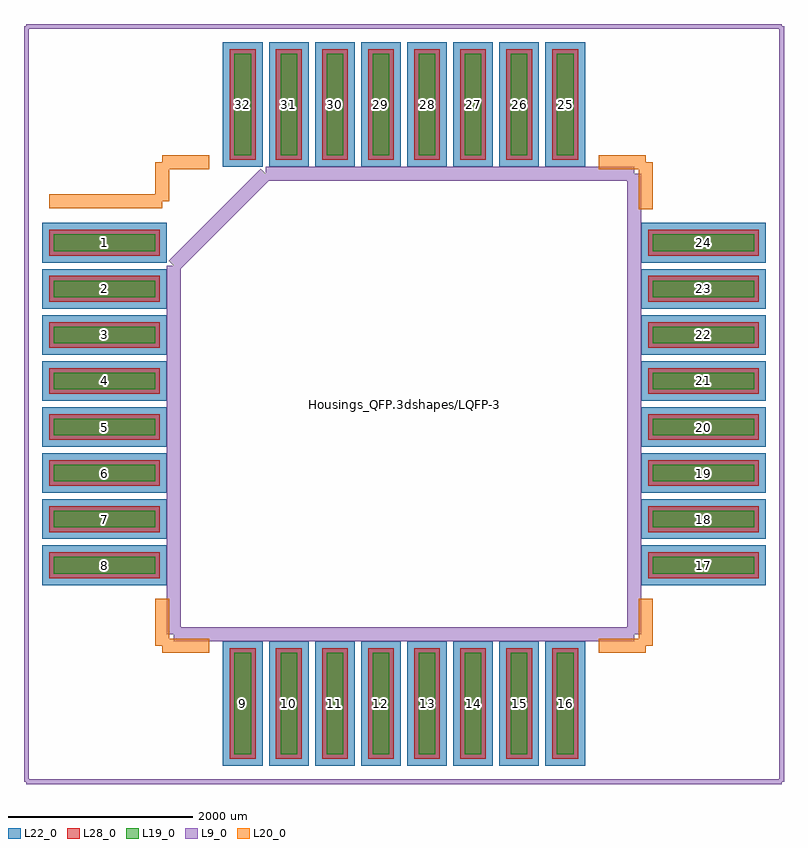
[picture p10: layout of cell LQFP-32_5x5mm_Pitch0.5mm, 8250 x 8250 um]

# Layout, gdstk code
import gdstk
lib = gdstk.Library(unit=1e-6, precision=1e-09)
def R(c, l, rs):  # rectangles x0, y0, x1, y1
    for r in rs: c.add(gdstk.rectangle(r[:2], r[2:], *l))
def A(c, l, x, y, w, h, nx, ny, dx, dy):  # array of equal rectangles
    R(c, l, [(x+i*dx, y+j*dy, x+i*dx+w, y+j*dy+h) for i in range(nx) for j in range(ny)])
L9_0 = (9, 0)
L19_0 = (19, 0)
L20_0 = (20, 0)
L22_0 = (22, 0)
L28_0 = (28, 0)

lqfp_32_5x5mm_pitch0_5mm = lib.new_cell('LQFP-32_5x5mm_Pitch0.5mm')
A(lqfp_32_5x5mm_pitch0_5mm, L19_0, -1840, -3800, 180, 1100, 8, 2, 500, 6500)
A(lqfp_32_5x5mm_pitch0_5mm, L19_0, -3800, -1840, 1100, 180, 1, 8, 0, 500)
A(lqfp_32_5x5mm_pitch0_5mm, L19_0, 2700, -1840, 1100, 180, 1, 8, 0, 500)
A(lqfp_32_5x5mm_pitch0_5mm, L22_0, -1965, -3925, 430, 1350, 8, 2, 500, 6500)
A(lqfp_32_5x5mm_pitch0_5mm, L22_0, -3925, -1965, 1350, 430, 1, 8, 0, 500)
A(lqfp_32_5x5mm_pitch0_5mm, L22_0, 2575, -1965, 1350, 430, 1, 8, 0, 500)
A(lqfp_32_5x5mm_pitch0_5mm, L28_0, -1890, -3850, 280, 1200, 8, 2, 500, 6500)
A(lqfp_32_5x5mm_pitch0_5mm, L28_0, -3850, -1890, 1200, 280, 1, 8, 0, 500)
A(lqfp_32_5x5mm_pitch0_5mm, L28_0, 2650, -1890, 1200, 280, 1, 8, 0, 500)
lqfp_32_5x5mm_pitch0_5mm.add(gdstk.FlexPath([(-2625,2200),(-3850,2200)], 149.998, ends="flush", simple_path=True, layer=20, datatype=0))  # L20_0
lqfp_32_5x5mm_pitch0_5mm.add(gdstk.FlexPath([(2625,2625),(2115,2625)], 149.998, ends="flush", simple_path=True, layer=20, datatype=0))  # L20_0
lqfp_32_5x5mm_pitch0_5mm.add(gdstk.FlexPath([(2625,-2625),(2115,-2625)], 149.998, ends="flush", simple_path=True, layer=20, datatype=0))  # L20_0
lqfp_32_5x5mm_pitch0_5mm.add(gdstk.FlexPath([(-2625,-2625),(-2115,-2625)], 149.998, ends="flush", simple_path=True, layer=20, datatype=0))  # L20_0
lqfp_32_5x5mm_pitch0_5mm.add(gdstk.FlexPath([(-2625,2625),(-2115,2625)], 149.998, ends="flush", simple_path=True, layer=20, datatype=0))  # L20_0
lqfp_32_5x5mm_pitch0_5mm.add(gdstk.FlexPath([(-2625,-2625),(-2625,-2115)], 149.998, ends="flush", simple_path=True, layer=20, datatype=0))  # L20_0
lqfp_32_5x5mm_pitch0_5mm.add(gdstk.FlexPath([(2625,-2625),(2625,-2115)], 149.998, ends="flush", simple_path=True, layer=20, datatype=0))  # L20_0
lqfp_32_5x5mm_pitch0_5mm.add(gdstk.FlexPath([(2625,2625),(2625,2115)], 149.998, ends="flush", simple_path=True, layer=20, datatype=0))  # L20_0
lqfp_32_5x5mm_pitch0_5mm.add(gdstk.FlexPath([(-2625,2625),(-2625,2200)], 149.998, ends="flush", simple_path=True, layer=20, datatype=0))  # L20_0
lqfp_32_5x5mm_pitch0_5mm.add(gdstk.FlexPath([(-4100,-4100),(4100,-4100)], 50, ends="flush", simple_path=True, layer=9, datatype=0))  # L9_0
lqfp_32_5x5mm_pitch0_5mm.add(gdstk.FlexPath([(-4100,4100),(4100,4100)], 50, ends="flush", simple_path=True, layer=9, datatype=0))  # L9_0
lqfp_32_5x5mm_pitch0_5mm.add(gdstk.FlexPath([(4100,4100),(4100,-4100)], 50, ends="flush", simple_path=True, layer=9, datatype=0))  # L9_0
lqfp_32_5x5mm_pitch0_5mm.add(gdstk.FlexPath([(-4100,4100),(-4100,-4100)], 50, ends="flush", simple_path=True, layer=9, datatype=0))  # L9_0
lqfp_32_5x5mm_pitch0_5mm.add(gdstk.FlexPath([(-2500,1500),(-1500,2500)], 149.998, ends="flush", simple_path=True, layer=9, datatype=0))  # L9_0
lqfp_32_5x5mm_pitch0_5mm.add(gdstk.FlexPath([(-2500,-2500),(-2500,1500)], 149.998, ends="flush", simple_path=True, layer=9, datatype=0))  # L9_0
lqfp_32_5x5mm_pitch0_5mm.add(gdstk.FlexPath([(2500,-2500),(-2500,-2500)], 149.998, ends="flush", simple_path=True, layer=9, datatype=0))  # L9_0
lqfp_32_5x5mm_pitch0_5mm.add(gdstk.FlexPath([(2500,2500),(2500,-2500)], 149.998, ends="flush", simple_path=True, layer=9, datatype=0))  # L9_0
lqfp_32_5x5mm_pitch0_5mm.add(gdstk.FlexPath([(-1500,2500),(2500,2500)], 149.998, ends="flush", simple_path=True, layer=9, datatype=0))  # L9_0
lqfp_32_5x5mm_pitch0_5mm.add(gdstk.Label('Housings_QFP.3dshapes/LQFP-32_5x5mm_Pitch0.5mm.wrl', (0,0), layer=12, texttype=0))
lqfp_32_5x5mm_pitch0_5mm.add(gdstk.Label('32', (-1750,3250), layer=28, texttype=0))
lqfp_32_5x5mm_pitch0_5mm.add(gdstk.Label('31', (-1250,3250), layer=28, texttype=0))
lqfp_32_5x5mm_pitch0_5mm.add(gdstk.Label('30', (-750,3250), layer=28, texttype=0))
lqfp_32_5x5mm_pitch0_5mm.add(gdstk.Label('29', (-250,3250), layer=28, texttype=0))
lqfp_32_5x5mm_pitch0_5mm.add(gdstk.Label('28', (250,3250), layer=28, texttype=0))
lqfp_32_5x5mm_pitch0_5mm.add(gdstk.Label('27', (750,3250), layer=28, texttype=0))
lqfp_32_5x5mm_pitch0_5mm.add(gdstk.Label('26', (1250,3250), layer=28, texttype=0))
lqfp_32_5x5mm_pitch0_5mm.add(gdstk.Label('25', (1750,3250), layer=28, texttype=0))
lqfp_32_5x5mm_pitch0_5mm.add(gdstk.Label('24', (3250,1750), layer=28, texttype=0))
lqfp_32_5x5mm_pitch0_5mm.add(gdstk.Label('23', (3250,1250), layer=28, texttype=0))
lqfp_32_5x5mm_pitch0_5mm.add(gdstk.Label('22', (3250,750), layer=28, texttype=0))
lqfp_32_5x5mm_pitch0_5mm.add(gdstk.Label('21', (3250,250), layer=28, texttype=0))
lqfp_32_5x5mm_pitch0_5mm.add(gdstk.Label('20', (3250,-250), layer=28, texttype=0))
lqfp_32_5x5mm_pitch0_5mm.add(gdstk.Label('19', (3250,-750), layer=28, texttype=0))
lqfp_32_5x5mm_pitch0_5mm.add(gdstk.Label('18', (3250,-1250), layer=28, texttype=0))
lqfp_32_5x5mm_pitch0_5mm.add(gdstk.Label('17', (3250,-1750), layer=28, texttype=0))
lqfp_32_5x5mm_pitch0_5mm.add(gdstk.Label('16', (1750,-3250), layer=28, texttype=0))
lqfp_32_5x5mm_pitch0_5mm.add(gdstk.Label('15', (1250,-3250), layer=28, texttype=0))
lqfp_32_5x5mm_pitch0_5mm.add(gdstk.Label('14', (750,-3250), layer=28, texttype=0))
lqfp_32_5x5mm_pitch0_5mm.add(gdstk.Label('13', (250,-3250), layer=28, texttype=0))
lqfp_32_5x5mm_pitch0_5mm.add(gdstk.Label('12', (-250,-3250), layer=28, texttype=0))
lqfp_32_5x5mm_pitch0_5mm.add(gdstk.Label('11', (-750,-3250), layer=28, texttype=0))
lqfp_32_5x5mm_pitch0_5mm.add(gdstk.Label('10', (-1250,-3250), layer=28, texttype=0))
lqfp_32_5x5mm_pitch0_5mm.add(gdstk.Label('9', (-1750,-3250), layer=28, texttype=0))
lqfp_32_5x5mm_pitch0_5mm.add(gdstk.Label('8', (-3250,-1750), layer=28, texttype=0))
lqfp_32_5x5mm_pitch0_5mm.add(gdstk.Label('7', (-3250,-1250), layer=28, texttype=0))
lqfp_32_5x5mm_pitch0_5mm.add(gdstk.Label('6', (-3250,-750), layer=28, texttype=0))
lqfp_32_5x5mm_pitch0_5mm.add(gdstk.Label('5', (-3250,-250), layer=28, texttype=0))
lqfp_32_5x5mm_pitch0_5mm.add(gdstk.Label('4', (-3250,250), layer=28, texttype=0))
lqfp_32_5x5mm_pitch0_5mm.add(gdstk.Label('3', (-3250,750), layer=28, texttype=0))
lqfp_32_5x5mm_pitch0_5mm.add(gdstk.Label('2', (-3250,1250), layer=28, texttype=0))
lqfp_32_5x5mm_pitch0_5mm.add(gdstk.Label('1', (-3250,1750), layer=28, texttype=0))
lqfp_32_5x5mm_pitch0_5mm.add(gdstk.Label('%R', (0,0), layer=9, texttype=0))
lqfp_32_5x5mm_pitch0_5mm.add(gdstk.Label('type', (0,-4850), layer=9, texttype=0))
lqfp_32_5x5mm_pitch0_5mm.add(gdstk.Label('devicename', (0,4850), layer=9, texttype=0))

lib.write_gds('LQFP-32_5x5mm_Pitch0.5mm.gds')
